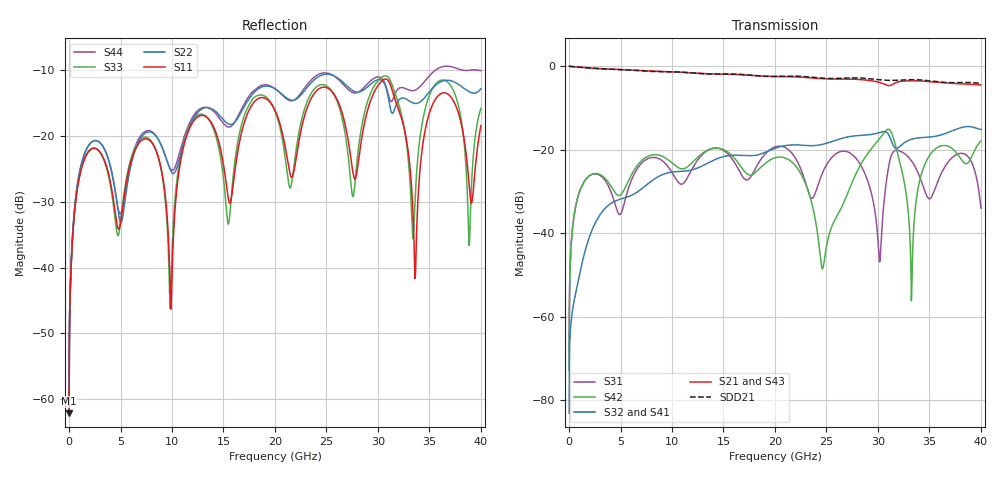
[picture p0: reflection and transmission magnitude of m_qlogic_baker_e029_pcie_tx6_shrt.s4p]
! freq	real(S11)	imag(S11)	real(S12)	imag(S12)	real(S13)	imag(S13)
!  real(S14)	imag(S14)
!  real(S21)	imag(S21)	real(S22)	imag(S22)	real(S23)	imag(S23)
!  real(S24)	imag(S24)
!  real(S31)	imag(S31)	real(S32)	imag(S32)	real(S33)	imag(S33)
!  real(S34)	imag(S34)
!  real(S41)	imag(S41)	real(S42)	imag(S42)	real(S43)	imag(S43)
!  real(S44)	imag(S44)
!port1: p1  port2: p2  port3: p3  port4: p4
#  MHz  S  RI  R 50
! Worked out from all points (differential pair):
!   8000 points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, 5 MHz to 40 GHz, reference 50 ohm
!   strongest paths, dB at 5 MHz, 10.01 GHz, 20 GHz, 30 GHz, 40 GHz:
!     S21: 0.0, -1.4, -2.5, -3.8, -4.5
!     S43: 0.0, -1.4, -2.5, -3.9, -5.4
!     S32: -83.1, -25.4, -19.7, -16.0, -15.1
!     S41: -83.1, -25.4, -19.7, -15.9, -14.8
!     S42: -72.7, -23.2, -21.9, -17.8, -17.9
!     S31: -72.6, -25.5, -19.3, -41.8, -34.0
!   taken as a pair (ports 1,3 in; 2,4 out), SDD21 dB: 0.0, -1.4, -2.5, -3.2, -4.1
!   lowest |S11| = -62.2 dB at 5 MHz (marker M1), VSWR 1.00, Z = 50.1 + j0.000762 ohm
!   |S11| at or under -10 dB: start of sweep to end of sweep
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5  0.000778 7.61e-06  0.9992 -0.00329  0.000235 3.31e-05  -6.2e-05 -4.02e-06
   0.9992 -0.00329  0.000781 7.07e-06  -6.19e-05 -4.02e-06  0.000235 3.33e-05
   0.000231 3.22e-05  -6.98e-05 -4.87e-06  0.000779 7.05e-06  0.9992 -0.00329
   -6.98e-05 -4.87e-06  0.000231 3.24e-05  0.9992 -0.00329  0.000781 6.54e-06
4205  -0.036 0.00903  -0.6505 -0.65  0.00458 -0.0279  -0.0172 0.0156
      -0.6505 -0.65  -0.0505 0.00746  -0.0174 0.0155  0.0342 0.00406
      0.00459 -0.0279  -0.0174 0.0155  -0.0331 0.00813  -0.6491 -0.6512
      -0.0172 0.0156  0.0342 0.00407  -0.6491 -0.6512  -0.0499 0.00396
11285  -0.0198 -0.0905  0.8399 0.0284  -0.0411 0.00844  0.00211 -0.0553
       0.8399 0.0284  -0.0194 -0.0946  0.0038 -0.0554  0.0588 0.0127
       -0.0411 0.00843  0.00382 -0.0554  -0.0137 -0.0985  0.8387 0.0329
       0.00213 -0.0554  0.0588 0.0126  0.8387 0.0329  -0.0246 -0.1015
16835  0.0303 -0.1086  -0.779 -0.1135  -0.0237 -0.0419  -0.00581 0.0855
       -0.779 -0.1135  -0.0759 -0.1387  -0.0107 0.0847  0.0463 -0.0368
       -0.0237 -0.0419  -0.0107 0.0847  0.0286 -0.1259  -0.7746 -0.1167
       -0.00584 0.0855  0.0464 -0.0368  -0.7746 -0.1167  -0.073 -0.1494
22760  0.0551 -0.1203  0.7343 0.0399  0.0104 -0.0473  -0.00771 -0.1141
       0.7343 0.04  -0.165 -0.1394  0.000789 -0.1129  -0.0161 -0.0419
       0.0104 -0.0473  0.000795 -0.1129  0.057 -0.1394  0.7301 0.0474
       -0.00769 -0.114  -0.016 -0.0419  0.7301 0.0474  -0.1636 -0.1555
33270  -0.0243 0.0329  0.5351 0.3996  0.0731 0.00368  0.0672 -0.1134
       0.5352 0.3996  -0.1798 -0.0221  0.0724 -0.1121  -0.000888 -0.00158
       0.0732 0.00369  0.0724 -0.1121  -0.00533 0.0252  0.5261 0.3971
       0.0672 -0.1134  -0.000894 -0.00158  0.5261 0.3971  -0.2147 -0.0565
40000  -0.00476 -0.1201  -0.5948 0.0231  0.00388 -0.0196  0.0401 0.178
       -0.5948 0.0231  -0.223 -0.0537  0.0272 0.173  -0.0173 0.1262
       0.00388 -0.0197  0.0272 0.173  0.011 -0.1628  -0.539 0.00735
       0.0401 0.178  -0.0173 0.1262  -0.539 0.00736  -0.3154 0.0101
